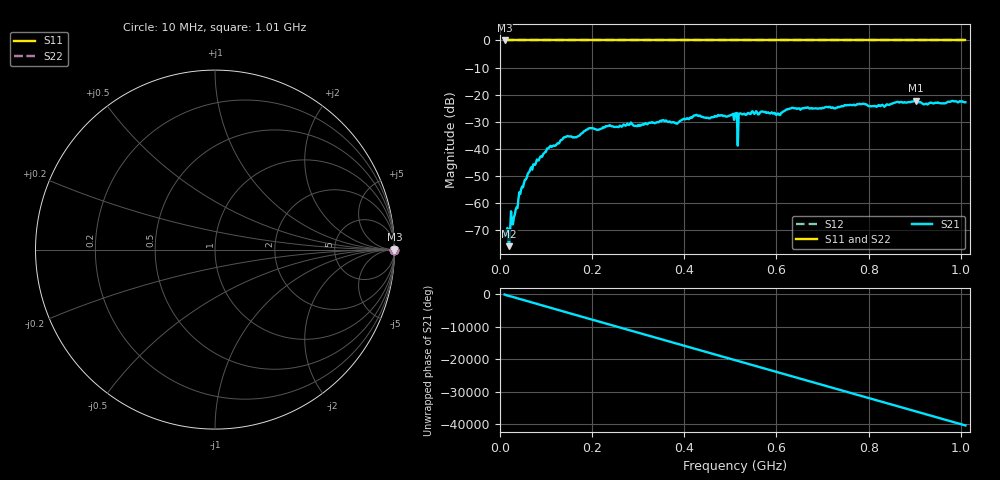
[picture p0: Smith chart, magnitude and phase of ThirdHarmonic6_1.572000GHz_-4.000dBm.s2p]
! 8/16/2025 6:41:31 PM
! C:\ANRITSUVNA\TEMP\TEMP.S2P
! CHANNEL.1
! TR.MEASUREMENT
! RAW.DATA
! RF.CORRECTION.OFF
! AVERAGING.OFF
! IF.BANDWIDTH: 5KHZ
! SWEEPTYPE:  FREQ.SWEEP(Linear)
! Reference Plane Port Info
! PORT:  PORT1  PORT2
! DISTANCE:  0  m  0  m
! TIME:  0  s  0  s
! PHASE.OFFSET:  0  deg.  0  deg.
! LOSS:  0  dB  0  dB
! REF.LOSS:  0  dB  0  dB
! REF.FREQ:  0  Hz  0  Hz
! Power Info
! POWER:  -20  dBm  -20  dBm
! EFF.POWER:  -20  dBm  -20  dBm
! SOURCE.ATTEN:  0  dB  0  dB
! TEST.ATTEN:  0  dB  0  dB
# GHZ S RI R 50.0
! FREQ.GHZ  S11RE  S11IM  S21RE  S21IM  S12RE  S12IM  S22RE  S22IM
!; PortSelection: Port_12
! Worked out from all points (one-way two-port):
!   501 points, 10 MHz to 1.01 GHz, reference 50 ohm
!   highest |S21| = -22.25 dB at 902 MHz (marker M1); lowest = -75.8 dB at 20 MHz (marker M2)
!   lowest |S11| = 0.0 dB at 10 MHz (marker M3)
!   |S11| at or under -10 dB: nowhere
!   |S22| runs from 0.0 to 0.0 dB; largest |S21 - S12| = 1.1
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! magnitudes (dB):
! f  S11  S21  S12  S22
! 10 MHz  0.0  -72.1  0.0  0.0
! 18 MHz  0.0  -73.7  0.0  0.0
! 20 MHz  0.0  -75.8  0.0  0.0
! 30 MHz  0.0  -65.3  0.0  0.0
! 44 MHz  0.0  -56.5  0.0  0.0
! 70 MHz  0.0  -47.6  0.0  0.0
! 106 MHz  0.0  -39.6  0.0  0.0
! 142 MHz  0.0  -35.7  0.0  0.0
! 178 MHz  0.0  -34.2  0.0  0.0
! 196 MHz  0.0  -32.3  0.0  0.0
! 344 MHz  0.0  -30.2  0.0  0.0
! 424 MHz  0.0  -27.6  0.0  0.0
! 510 MHz  0.0  -26.9  0.0  0.0
! 512 MHz  0.0  -26.9  0.0  0.0
! 520 MHz  0.0  -26.9  0.0  0.0
! 522 MHz  0.0  -26.9  0.0  0.0
! 604 MHz  0.0  -27.0  0.0  0.0
! 632 MHz  0.0  -25.0  0.0  0.0
! 678 MHz  0.0  -25.1  0.0  0.0
! 844 MHz  0.0  -23.8  0.0  0.0
! 902 MHz  0.0  -22.3  0.0  0.0
! 1.01 GHz  0.0  -22.8  0.0  0.0
